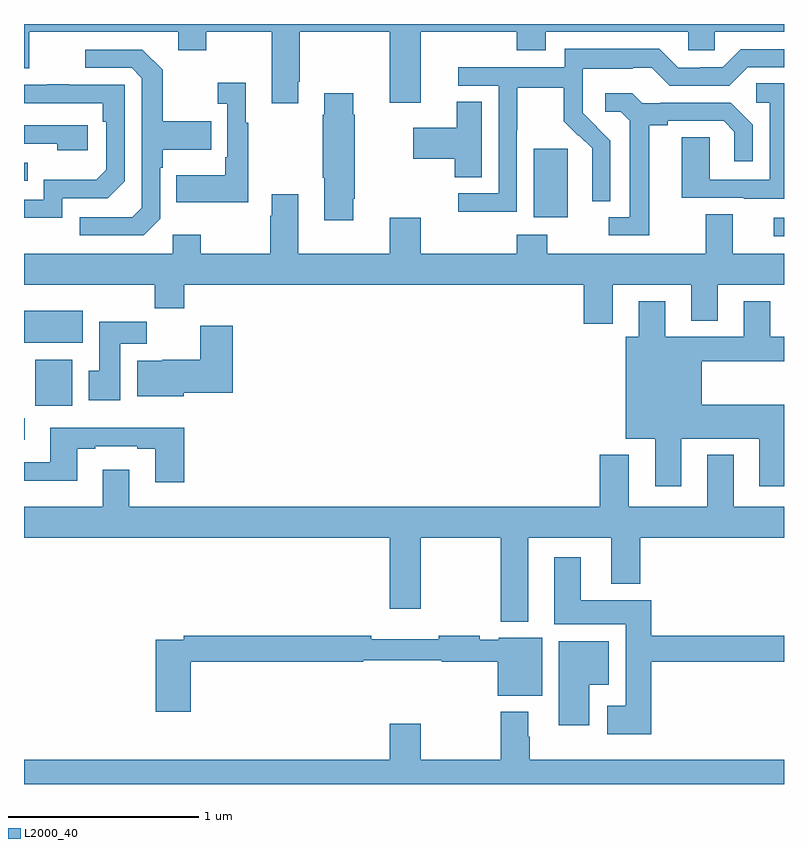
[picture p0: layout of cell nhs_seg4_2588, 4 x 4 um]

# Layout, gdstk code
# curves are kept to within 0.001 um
import gdstk
lib = gdstk.Library(unit=1e-6, precision=1e-09)
def R(c, l, rs):  # rectangles x0, y0, x1, y1
    for r in rs: c.add(gdstk.rectangle(r[:2], r[2:], *l))
def P(c, l, *ps):  # polygons
    for p in ps: c.add(gdstk.Polygon(p, *l))
L2000_40 = (2000, 40)

nhs_seg4_2588 = lib.new_cell('nhs_seg4_2588')
R(nhs_seg4_2588, L2000_40, [(247,754.713,247.003,754.826), (247.058,754.892,247.255,755.134), (247,755.222,247.309,755.392), (250.947,755.784,251,755.88), (249.683,755.882,249.862,756.243), (247,756.075,247.019,756.171)])
P(nhs_seg4_2588, L2000_40, [(248.443,756.595),(248.451,756.595),(248.451,756.86),(248.924,756.86),(248.924,756.486),(249.088,756.486),(249.088,756.86),(249.593,756.86),(249.593,756.761),(249.745,756.761),(249.745,756.86),(250.497,756.86),(250.497,756.762),(250.635,756.762),(250.635,756.86),(251,756.86),(251,756.9),(247,756.9),(247,756.666),(247.027,756.666),(247.027,756.86),(247.811,756.86),(247.811,756.761),(247.959,756.761),(247.959,756.86),(248.303,756.86),(248.303,756.483),(248.443,756.483)],
  [(249.594,756.34),(249.597,756.34),(249.597,756.564),(249.841,756.564),(249.841,756.389),(249.918,756.312),(249.921,756.315),(249.992,756.245),(249.992,756.122),(249.99,756.122),(249.99,755.968),(250.086,755.968),(250.086,756.286),(249.94,756.434),(249.94,756.531),(249.942,756.531),(249.942,756.665),(250.205,756.665),(250.205,756.669),(250.305,756.669),(250.398,756.576),(250.713,756.576),(250.809,756.672),(251,756.672),(251,756.768),(250.773,756.768),(250.677,756.672),(250.559,756.672),(250.559,756.669),(250.443,756.669),(250.343,756.769),(249.846,756.769),(249.846,756.672),(249.285,756.672),(249.285,756.576),(249.498,756.576),(249.498,756.009),(249.285,756.009),(249.285,755.911),(249.594,755.911)],
  [(247.716,755.874),(247.716,756.143),(247.729,756.143),(247.729,756.239),(247.985,756.239),(247.985,756.387),(247.729,756.387),(247.729,756.659),(247.623,756.765),(247.323,756.765),(247.323,756.669),(247.566,756.669),(247.62,756.615),(247.62,755.934),(247.569,755.883),(247.293,755.883),(247.293,755.787),(247.629,755.787)],
  [(248.179,756.379),(248.167,756.379),(248.167,756.592),(248.019,756.592),(248.019,756.479),(248.07,756.479),(248.07,756.199),(248.058,756.199),(248.058,756.103),(247.801,756.103),(247.801,755.963),(248.179,755.963)],
  [(251,756.587),(250.854,756.587),(250.854,756.486),(250.926,756.486),(250.926,756.081),(250.608,756.081),(250.608,756.305),(250.463,756.305),(250.463,755.985),(250.787,755.985),(250.787,755.981),(251,755.981)],
  [(247.2,755.982),(247.44,755.982),(247.53,756.072),(247.53,756.579),(247.235,756.579),(247.235,756.584),(247.123,756.584),(247.123,756.579),(247,756.579),(247,756.483),(247.414,756.483),(247.414,756.386),(247.434,756.386),(247.434,756.132),(247.381,756.079),(247.104,756.079),(247.104,755.976),(247,755.976),(247,755.88),(247.2,755.88)],
  [(250.291,756.368),(250.387,756.368),(250.387,756.39),(250.682,756.39),(250.739,756.333),(250.739,756.177),(250.836,756.177),(250.836,756.37),(250.72,756.486),(250.348,756.486),(250.348,756.483),(250.254,756.483),(250.202,756.535),(250.059,756.535),(250.059,756.438),(250.14,756.438),(250.187,756.391),(250.187,755.883),(250.077,755.883),(250.077,755.787),(250.291,755.787)],
  [(248.734,755.98),(248.742,755.98),(248.742,756.422),(248.734,756.422),(248.734,756.535),(248.579,756.535),(248.579,756.422),(248.572,756.422),(248.572,756.091),(248.579,756.091),(248.579,755.868),(248.734,755.868)],
  [(249.409,756.491),(249.278,756.491),(249.278,756.355),(249.048,756.355),(249.048,756.19),(249.266,756.19),(249.266,756.094),(249.409,756.094)],
  [(247.336,756.366),(247,756.366),(247,756.27),(247.175,756.27),(247.175,756.236),(247.336,756.236)],
  [(250.099,755.528),(250.511,755.528),(250.511,755.339),(250.651,755.339),(250.651,755.528),(251,755.528),(251,755.692),(250.729,755.692),(250.729,755.9),(250.589,755.9),(250.589,755.692),(249.753,755.692),(249.753,755.791),(249.593,755.791),(249.593,755.692),(249.088,755.692),(249.088,755.881),(248.924,755.881),(248.924,755.692),(248.443,755.692),(248.443,756.004),(248.303,756.004),(248.303,755.891),(248.296,755.891),(248.296,755.692),(247.929,755.692),(247.929,755.791),(247.782,755.791),(247.782,755.692),(247,755.692),(247,755.528),(247.687,755.528),(247.687,755.404),(247.844,755.404),(247.844,755.528),(249.947,755.528),(249.947,755.322),(250.099,755.322)],
  [(250.459,754.718),(250.871,754.718),(250.871,754.467),(251,754.467),(251,754.897),(250.567,754.897),(250.567,755.126),(251,755.126),(251,755.254),(250.927,755.254),(250.927,755.44),(250.787,755.44),(250.787,755.254),(250.375,755.254),(250.375,755.44),(250.235,755.44),(250.235,755.254),(250.166,755.254),(250.166,754.718),(250.322,754.718),(250.322,754.467),(250.459,754.467)],
  [(247.507,755.216),(247.646,755.216),(247.646,755.334),(247.397,755.334),(247.397,755.076),(247.34,755.076),(247.34,754.92),(247.507,754.92)],
  [(247.842,754.958),(248.099,754.958),(248.099,755.311),(247.928,755.311),(247.928,755.134),(247.728,755.134),(247.728,755.128),(247.595,755.128),(247.595,754.94),(247.842,754.94)],
  [(247.844,754.774),(247.139,754.774),(247.139,754.593),(247,754.593),(247,754.496),(247.279,754.496),(247.279,754.665),(247.375,754.665),(247.375,754.677),(247.595,754.677),(247.595,754.665),(247.691,754.665),(247.691,754.488),(247.844,754.488)],
  [(249.655,754.196),(250.091,754.196),(250.091,753.953),(250.244,753.953),(250.244,754.196),(251,754.196),(251,754.36),(250.735,754.36),(250.735,754.633),(250.595,754.633),(250.595,754.36),(250.183,754.36),(250.183,754.633),(250.031,754.633),(250.031,754.36),(247.555,754.36),(247.555,754.555),(247.415,754.555),(247.415,754.36),(247,754.36),(247,754.196),(248.924,754.196),(248.924,753.822),(249.088,753.822),(249.088,754.196),(249.508,754.196),(249.508,753.755),(249.655,753.755)],
  [(250.301,753.544),(251,753.544),(251,753.68),(250.301,753.68),(250.301,753.868),(249.931,753.868),(249.931,754.093),(249.791,754.093),(249.791,753.74),(250.166,753.74),(250.166,753.313),(250.071,753.313),(250.071,753.161),(250.301,753.161)],
  [(247.877,753.544),(248.785,753.544),(248.785,753.552),(249.198,753.552),(249.198,753.544),(249.494,753.544),(249.494,753.365),(249.727,753.365),(249.727,753.67),(249.498,753.67),(249.498,753.66),(249.398,753.66),(249.398,753.68),(249.184,753.68),(249.184,753.661),(248.828,753.661),(248.828,753.68),(247.84,753.68),(247.84,753.66),(247.694,753.66),(247.694,753.279),(247.877,753.279)],
  [(249.976,753.422),(250.078,753.422),(250.078,753.652),(249.815,753.652),(249.815,753.21),(249.976,753.21)],
  [(251,753.028),(249.663,753.028),(249.663,753.149),(249.655,753.149),(249.655,753.28),(249.508,753.28),(249.508,753.028),(249.088,753.028),(249.088,753.217),(248.924,753.217),(248.924,753.028),(247,753.028),(247,752.9),(251,752.9)])

lib.write_gds('nhs_seg4_2588.gds')
